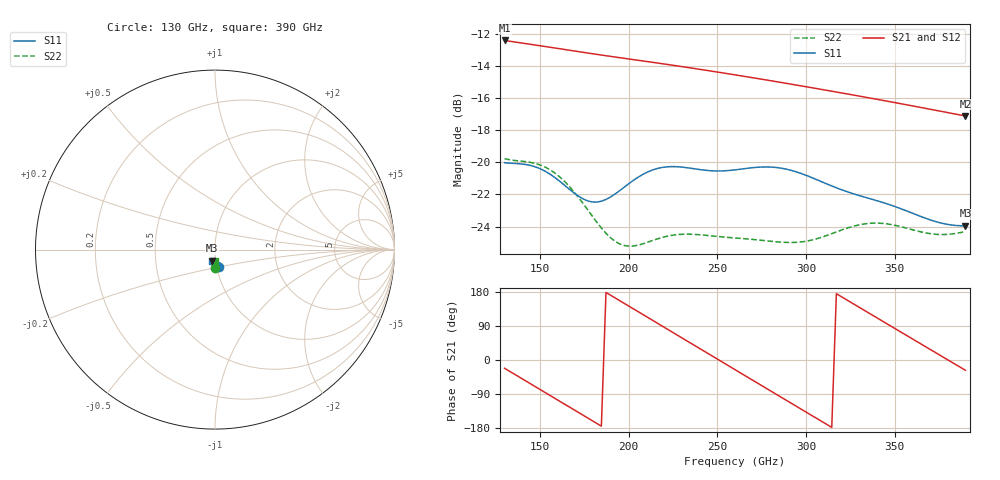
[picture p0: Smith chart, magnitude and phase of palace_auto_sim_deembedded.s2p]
! Created with skrf 1.11.0 (http://scikit-rf.org).
# GHz S DB R 50.0
!freq dBS11 angS11 dBS21 angS21 dBS12 angS12 dBS22 angS22
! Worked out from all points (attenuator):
!   101 points, 130 GHz to 390 GHz, reference 50 ohm
!   highest |S21| = -12.40 dB at 130 GHz (marker M1); lowest = -17.1 dB at 390 GHz (marker M2)
!   lowest |S11| = -24.0 dB at 390 GHz (marker M3), VSWR 1.14, Z = 48.1 - j5.96 ohm
!   |S11| at or under -10 dB: start of sweep to end of sweep
!   |S22| runs from -25.2 to -19.8 dB; largest |S21 - S12| = 4e-14
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130  -20.02 -78.7  -12.40 -21.9  -12.40 -21.9  -19.77 -89.4
143  -20.15 -79.2  -12.62 -58.2  -12.62 -58.2  -19.97 -91.0
153.4  -20.58 -81.7  -12.79 -87.3  -12.79 -87.3  -20.32 -95.8
163.8  -21.42 -82.7  -12.96 -116.4  -12.96 -116.4  -21.18 -101.2
174.2  -22.27 -79.5  -13.14 -145.5  -13.14 -145.5  -22.55 -104.4
184.6  -22.42 -73.1  -13.31 -174.5  -13.31 -174.5  -24.09 -102.6
195  -21.75 -69.1  -13.48 156.4  -13.48 156.4  -25.09 -95.8
208  -20.75 -70.7  -13.68 120.1  -13.68 120.1  -25.08 -87.8
218.4  -20.32 -74.9  -13.84 91.0  -13.84 91.0  -24.70 -85.8
228.8  -20.28 -79.3  -14.01 61.9  -14.01 61.9  -24.49 -86.3
241.8  -20.47 -83.0  -14.23 25.5  -14.23 25.5  -24.53 -87.3
249.6  -20.53 -84.3  -14.36 3.7  -14.36 3.7  -24.61 -87.6
260  -20.47 -86.0  -14.54 -25.4  -14.54 -25.4  -24.71 -87.7
270.4  -20.33 -88.9  -14.73 -54.5  -14.73 -54.5  -24.81 -87.8
280.8  -20.29 -92.9  -14.92 -83.6  -14.92 -83.6  -24.92 -87.5
291.2  -20.48 -97.3  -15.12 -112.6  -15.12 -112.6  -24.99 -86.5
304.2  -20.99 -101.8  -15.36 -148.8  -15.36 -148.8  -24.82 -84.7
322.4  -21.79 -105.0  -15.72 160.5  -15.72 160.5  -24.13 -85.3
335.4  -22.24 -106.2  -15.97 124.3  -15.97 124.3  -23.80 -88.7
348.4  -22.68 -107.5  -16.24 88.2  -16.24 88.2  -23.88 -92.5
371.8  -23.64 -107.2  -16.72 23.3  -16.72 23.3  -24.47 -93.9
390  -23.95 -103.8  -17.11 -27.1  -17.11 -27.1  -24.31 -92.0
